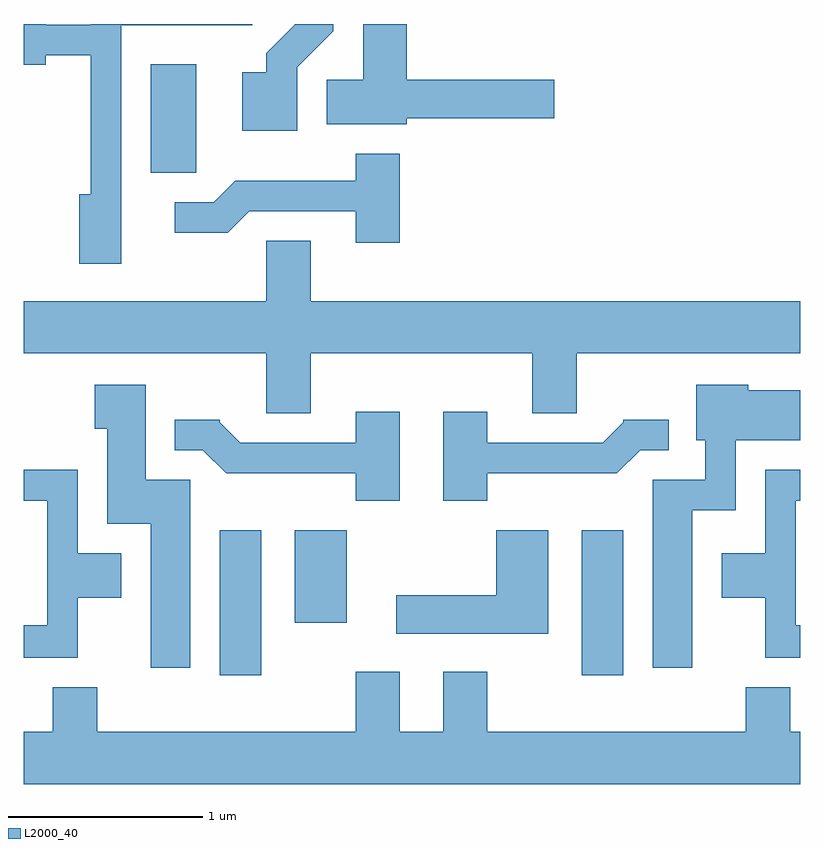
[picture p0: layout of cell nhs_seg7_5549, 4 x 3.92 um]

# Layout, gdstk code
import gdstk
lib = gdstk.Library(unit=1e-6, precision=1e-09)
def R(c, l, rs):  # rectangles x0, y0, x1, y1
    for r in rs: c.add(gdstk.rectangle(r[:2], r[2:], *l))
def P(c, l, *ps):  # polygons
    for p in ps: c.add(gdstk.Polygon(p, *l))
L2000_40 = (2000, 40)

nhs_seg7_5549 = lib.new_cell('nhs_seg7_5549')
R(nhs_seg7_5549, L2000_40, [(356.621,1694.896,356.834,1695.644), (358.486,1694.896,358.699,1695.644), (357.006,1695.166,357.274,1695.644), (356.266,1697.486,356.499,1698.044)])
P(nhs_seg7_5549, L2000_40, [(357.584,1697.766),(358.344,1697.766),(358.344,1697.964),(357.584,1697.964),(357.584,1698.252),(357.361,1698.252),(357.361,1697.964),(357.171,1697.964),(357.171,1697.736),(357.584,1697.736)],
  [(356.114,1698.246),(356.788,1698.246),(356.788,1698.252),(355.956,1698.252),(355.956,1698.249),(355.724,1698.249),(355.724,1698.252),(355.611,1698.252),(355.611,1698.041),(355.724,1698.041),(355.724,1698.091),(355.956,1698.091),(355.956,1697.374),(355.896,1697.374),(355.896,1697.016),(356.114,1697.016)],
  [(357.019,1698.029),(357.204,1698.214),(357.204,1698.252),(357.006,1698.252),(357.006,1698.247),(356.861,1698.102),(356.861,1698.004),(356.736,1698.004),(356.736,1697.701),(357.019,1697.701)],
  [(357.549,1697.584),(357.321,1697.584),(357.321,1697.444),(356.699,1697.444),(356.589,1697.334),(356.388,1697.334),(356.388,1697.176),(356.662,1697.176),(356.772,1697.286),(357.321,1697.286),(357.321,1697.126),(357.549,1697.126)],
  [(357.089,1696.556),(358.231,1696.556),(358.231,1696.246),(358.459,1696.246),(358.459,1696.556),(359.611,1696.556),(359.611,1696.824),(357.089,1696.824),(357.089,1697.134),(356.861,1697.134),(356.861,1696.824),(355.611,1696.824),(355.611,1696.556),(356.861,1696.556),(356.861,1696.246),(357.089,1696.246)],
  [(356.469,1695.904),(356.239,1695.904),(356.239,1696.394),(355.976,1696.394),(355.976,1696.166),(356.041,1696.166),(356.041,1695.676),(356.266,1695.676),(356.266,1694.936),(356.469,1694.936)],
  [(359.054,1695.746),(359.279,1695.746),(359.279,1696.106),(359.611,1696.106),(359.611,1696.364),(359.344,1696.364),(359.344,1696.394),(359.076,1696.394),(359.076,1696.106),(359.121,1696.106),(359.121,1695.904),(358.851,1695.904),(358.851,1694.936),(359.054,1694.936)],
  [(357.999,1695.936),(358.667,1695.936),(358.787,1696.056),(358.933,1696.056),(358.933,1696.214),(358.7,1696.214),(358.7,1696.201),(358.594,1696.094),(357.999,1696.094),(357.999,1696.254),(357.771,1696.254),(357.771,1695.796),(357.999,1695.796)],
  [(357.549,1696.254),(357.321,1696.254),(357.321,1696.094),(356.727,1696.094),(356.62,1696.201),(356.62,1696.214),(356.388,1696.214),(356.388,1696.056),(356.534,1696.056),(356.654,1695.936),(357.321,1695.936),(357.321,1695.796),(357.549,1695.796)],
  [(355.889,1695.296),(356.114,1695.296),(356.114,1695.524),(355.889,1695.524),(355.889,1695.954),(355.611,1695.954),(355.611,1695.796),(355.731,1695.796),(355.731,1695.154),(355.611,1695.154),(355.611,1694.986),(355.889,1694.986)],
  [(359.611,1695.154),(359.589,1695.154),(359.589,1695.796),(359.611,1695.796),(359.611,1695.954),(359.431,1695.954),(359.431,1695.524),(359.206,1695.524),(359.206,1695.296),(359.431,1695.296),(359.431,1694.986),(359.611,1694.986)],
  [(358.314,1695.644),(358.046,1695.644),(358.046,1695.309),(357.531,1695.309),(357.531,1695.111),(358.314,1695.111)],
  [(359.611,1694.604),(359.559,1694.604),(359.559,1694.834),(359.331,1694.834),(359.331,1694.604),(357.999,1694.604),(357.999,1694.914),(357.771,1694.914),(357.771,1694.604),(357.549,1694.604),(357.549,1694.914),(357.321,1694.914),(357.321,1694.604),(355.989,1694.604),(355.989,1694.834),(355.761,1694.834),(355.761,1694.604),(355.611,1694.604),(355.611,1694.336),(359.611,1694.336)])

lib.write_gds('nhs_seg7_5549.gds')
